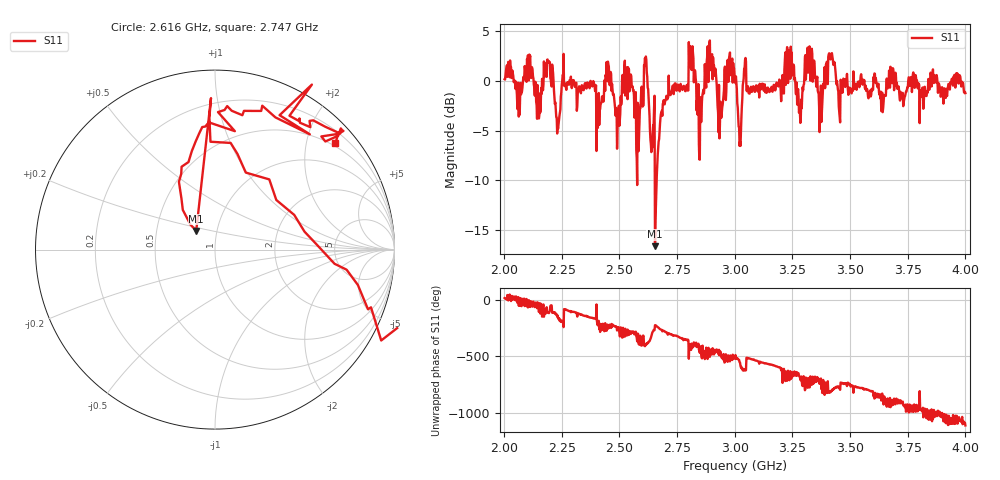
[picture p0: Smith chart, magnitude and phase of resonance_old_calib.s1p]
# HZ S RI R 50
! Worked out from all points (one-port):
!   1009 points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, 2.002 GHz to 4 GHz, reference 50 ohm
!   lowest |S11| = -16.6 dB at 2.654 GHz (marker M1), VSWR 1.35, Z = 39.7 + j8.47 ohm
!   |S11| at or under -10 dB: 2.576475 GHz to 2.576919 GHz (443.5 kHz wide, 0.0172 % of centre); 2.653247 GHz to 2.661276 GHz (8.029 MHz wide, 0.302 % of centre)
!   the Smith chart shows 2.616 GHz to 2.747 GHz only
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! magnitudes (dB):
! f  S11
! 2.002 GHz  0.2
! 2.149 GHz  -2.3
! 2.188 GHz  2.2
! 2.234 GHz  -4.8
! 2.252 GHz  0.0
! 2.41 GHz  -1.2
! 2.454 GHz  1.5
! 2.501 GHz  -4.0
! 2.531 GHz  1.4
! 2.583 GHz  -7.1
! 2.616 GHz  2.2
! 2.654 GHz  -16.6
! 2.751 GHz  -0.4
! 2.811 GHz  3.1
! 2.844 GHz  -6.3
! 2.89 GHz  3.9
! 2.936 GHz  -4.4
! 3.001 GHz  0.2
! 3.021 GHz  -6.5
! 3.045 GHz  2.2
! 3.251 GHz  0.6
! 3.28 GHz  -2.7
! 3.326 GHz  3.1
! 3.37 GHz  -1.2
! 3.415 GHz  2.2
! 3.5 GHz  -1.1
! 3.75 GHz  -0.6
! 4 GHz  -1.2
